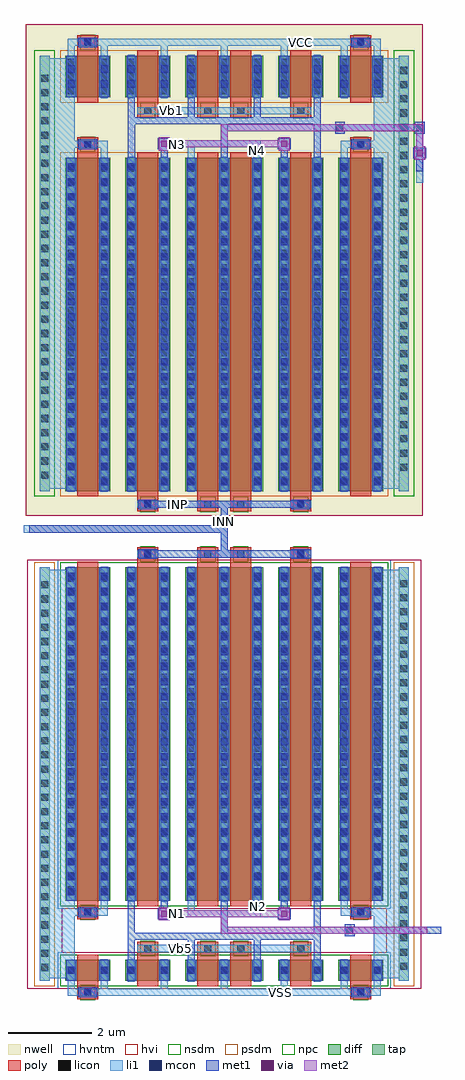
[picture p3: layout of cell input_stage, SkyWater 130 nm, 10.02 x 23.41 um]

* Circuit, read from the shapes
.subckt input_stage INN INP N1 N2 N3 N4 VCC VSS Vb1 Vb5
XM1 VSS VSS VSS VSS sky130_fd_pr__nfet_g5v0d10v5 w=0.5 l=0.5 m=2
XM2 VSS VSS VSS VSS sky130_fd_pr__nfet_g5v0d10v5 w=8 l=0.5 m=2
XM3 VSS Vb5 n5 VSS sky130_fd_pr__nfet_g5v0d10v5 w=0.5 l=0.5 m=4
XM4 N1 INP n5 VSS sky130_fd_pr__nfet_g5v0d10v5 w=8 l=0.5 m=2
XM5 n5 INN N2 VSS sky130_fd_pr__nfet_g5v0d10v5 w=8 l=0.5 m=2
XM6 VCC VCC VCC VCC sky130_fd_pr__pfet_g5v0d10v5 w=8 l=0.5 m=2
XM7 VCC VCC VCC VCC sky130_fd_pr__pfet_g5v0d10v5 w=1 l=0.5 m=2
XM8 N3 INP n6 VCC sky130_fd_pr__pfet_g5v0d10v5 w=8 l=0.5 m=2
XM9 VCC Vb1 n6 VCC sky130_fd_pr__pfet_g5v0d10v5 w=1 l=0.5 m=4
XM10 n6 INN N4 VCC sky130_fd_pr__pfet_g5v0d10v5 w=8 l=0.5 m=2
.ends

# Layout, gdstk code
import gdstk
lib = gdstk.Library(unit=1e-6, precision=1e-09)
def R(c, l, rs):  # rectangles x0, y0, x1, y1
    for r in rs: c.add(gdstk.rectangle(r[:2], r[2:], *l))
def A(c, l, x, y, w, h, nx, ny, dx, dy):  # array of equal rectangles
    R(c, l, [(x+i*dx, y+j*dy, x+i*dx+w, y+j*dy+h) for i in range(nx) for j in range(ny)])
nwell = (64, 20)
diff = (65, 20)
tap = (65, 44)
poly = (66, 20)
licon = (66, 44)
li1 = (67, 20)
mcon = (67, 44)
met1 = (68, 20)
via = (68, 44)
met2 = (69, 20)
hvi = (75, 20)
nsdm = (93, 44)
psdm = (94, 20)
npc = (95, 20)
hvntm = (125, 20)

sky130_fd_pr__nfet_g5v0d = lib.new_cell('sky130_fd_pr__nfet_g5v0d10v5_GUWUK4#0')
R(sky130_fd_pr__nfet_g5v0d, diff, [(-0.54,-0.095,0.54,0.405)])
R(sky130_fd_pr__nfet_g5v0d, poly, [(-0.25,-0.535,0.25,0.535)])
R(sky130_fd_pr__nfet_g5v0d, licon, [(-0.085,-0.455,0.085,-0.285), (-0.48,0.07,-0.31,0.24), (0.31,0.07,0.48,0.24)])
R(sky130_fd_pr__nfet_g5v0d, li1, [(-0.25,-0.455,0.25,-0.285), (-0.48,-0.115,-0.31,0.425), (0.31,-0.115,0.48,0.425)])
R(sky130_fd_pr__nfet_g5v0d, mcon, [(-0.085,-0.455,0.085,-0.285), (-0.48,0.07,-0.31,0.24), (0.31,0.07,0.48,0.24)])
R(sky130_fd_pr__nfet_g5v0d, met1, [(-0.23,-0.485,0.23,-0.255), (-0.51,-0.095,-0.28,0.405), (0.28,-0.095,0.51,0.405)])
R(sky130_fd_pr__nfet_g5v0d, hvi, [(-0.725,-0.28,0.725,0.59)])
R(sky130_fd_pr__nfet_g5v0d, nsdm, [(-0.665,-0.22,0.665,0.53)])
R(sky130_fd_pr__nfet_g5v0d, npc, [(-0.185,-0.555,0.185,-0.185)])
R(sky130_fd_pr__nfet_g5v0d, hvntm, [(-0.725,-0.28,0.725,0.59)])

c_sky130_fd_pr__nfet_g5v0d = lib.new_cell('sky130_fd_pr__nfet_g5v0d10v5_SAT828')
R(c_sky130_fd_pr__nfet_g5v0d, diff, [(-0.54,-3.845,0.54,4.155)])
R(c_sky130_fd_pr__nfet_g5v0d, poly, [(-0.25,-4.285,0.25,4.285)])
A(c_sky130_fd_pr__nfet_g5v0d, licon, -0.48, -3.67, 0.17, 0.17, 1, 23, 0, 0.34)
A(c_sky130_fd_pr__nfet_g5v0d, licon, 0.31, -3.67, 0.17, 0.17, 1, 23, 0, 0.34)
R(c_sky130_fd_pr__nfet_g5v0d, licon, [(-0.085,-4.205,0.085,-4.035)])
R(c_sky130_fd_pr__nfet_g5v0d, li1, [(-0.25,-4.205,0.25,-4.035), (-0.48,-3.865,-0.31,4.175), (0.31,-3.865,0.48,4.175)])
A(c_sky130_fd_pr__nfet_g5v0d, mcon, -0.48, -3.71, 0.17, 0.17, 1, 22, 0, 0.36)
A(c_sky130_fd_pr__nfet_g5v0d, mcon, 0.31, -3.71, 0.17, 0.17, 1, 22, 0, 0.36)
R(c_sky130_fd_pr__nfet_g5v0d, mcon, [(-0.085,-4.205,0.085,-4.035)])
R(c_sky130_fd_pr__nfet_g5v0d, met1, [(-0.23,-4.235,0.23,-4.005), (-0.51,-3.845,-0.28,4.155), (0.28,-3.845,0.51,4.155)])
R(c_sky130_fd_pr__nfet_g5v0d, hvi, [(-0.725,-4.03,0.725,4.34)])
R(c_sky130_fd_pr__nfet_g5v0d, nsdm, [(-0.665,-3.97,0.665,4.28)])
R(c_sky130_fd_pr__nfet_g5v0d, npc, [(-0.185,-4.305,0.185,-3.935)])
R(c_sky130_fd_pr__nfet_g5v0d, hvntm, [(-0.725,-4.03,0.725,4.34)])

c_sky130_fd_pr__nfet_g5v0d_ = lib.new_cell('sky130_fd_pr__nfet_g5v0d10v5_SAC338')
R(c_sky130_fd_pr__nfet_g5v0d_, diff, [(-0.54,-4,0.54,4)])
R(c_sky130_fd_pr__nfet_g5v0d_, poly, [(-0.25,-4.13,0.25,4.13)])
A(c_sky130_fd_pr__nfet_g5v0d_, licon, -0.48, -3.825, 0.17, 0.17, 1, 23, 0, 0.34)
A(c_sky130_fd_pr__nfet_g5v0d_, licon, 0.31, -3.825, 0.17, 0.17, 1, 23, 0, 0.34)
R(c_sky130_fd_pr__nfet_g5v0d_, li1, [(-0.48,-4.02,-0.31,4.02), (0.31,-4.02,0.48,4.02)])
A(c_sky130_fd_pr__nfet_g5v0d_, mcon, -0.48, -3.865, 0.17, 0.17, 1, 22, 0, 0.36)
A(c_sky130_fd_pr__nfet_g5v0d_, mcon, 0.31, -3.865, 0.17, 0.17, 1, 22, 0, 0.36)
R(c_sky130_fd_pr__nfet_g5v0d_, met1, [(-0.51,-4,-0.28,4), (0.28,-4,0.51,4)])
R(c_sky130_fd_pr__nfet_g5v0d_, hvi, [(-0.725,-4.185,0.725,4.185)])
R(c_sky130_fd_pr__nfet_g5v0d_, nsdm, [(-0.665,-4.125,0.665,4.125)])
R(c_sky130_fd_pr__nfet_g5v0d_, hvntm, [(-0.725,-4.185,0.725,4.185)])

c_sky130_fd_pr__nfet_g5v0d__ = lib.new_cell('sky130_fd_pr__nfet_g5v0d10v5_VNB5GC#0')
R(c_sky130_fd_pr__nfet_g5v0d__, diff, [(-0.54,-0.25,0.54,0.25)])
R(c_sky130_fd_pr__nfet_g5v0d__, poly, [(-0.25,-0.38,0.25,0.38)])
R(c_sky130_fd_pr__nfet_g5v0d__, licon, [(-0.48,-0.085,-0.31,0.085), (0.31,-0.085,0.48,0.085)])
R(c_sky130_fd_pr__nfet_g5v0d__, li1, [(-0.48,-0.27,-0.31,0.27), (0.31,-0.27,0.48,0.27)])
R(c_sky130_fd_pr__nfet_g5v0d__, mcon, [(-0.48,-0.085,-0.31,0.085), (0.31,-0.085,0.48,0.085)])
R(c_sky130_fd_pr__nfet_g5v0d__, met1, [(-0.51,-0.25,-0.28,0.25), (0.28,-0.25,0.51,0.25)])
R(c_sky130_fd_pr__nfet_g5v0d__, hvi, [(-0.725,-0.435,0.725,0.435)])
R(c_sky130_fd_pr__nfet_g5v0d__, nsdm, [(-0.665,-0.375,0.665,0.375)])
R(c_sky130_fd_pr__nfet_g5v0d__, hvntm, [(-0.725,-0.435,0.725,0.435)])

sky130_fd_pr__pfet_g5v0d = lib.new_cell('sky130_fd_pr__pfet_g5v0d10v5_2L5LZ7')
R(sky130_fd_pr__pfet_g5v0d, nwell, [(-0.72,-4.31,0.72,4.31)])
R(sky130_fd_pr__pfet_g5v0d, diff, [(-0.54,-4,0.54,4)])
R(sky130_fd_pr__pfet_g5v0d, poly, [(-0.25,-4.13,0.25,4.13)])
A(sky130_fd_pr__pfet_g5v0d, licon, -0.48, -3.825, 0.17, 0.17, 1, 23, 0, 0.34)
A(sky130_fd_pr__pfet_g5v0d, licon, 0.31, -3.825, 0.17, 0.17, 1, 23, 0, 0.34)
R(sky130_fd_pr__pfet_g5v0d, li1, [(-0.48,-4.02,-0.31,4.02), (0.31,-4.02,0.48,4.02)])
A(sky130_fd_pr__pfet_g5v0d, mcon, -0.48, -3.865, 0.17, 0.17, 1, 22, 0, 0.36)
A(sky130_fd_pr__pfet_g5v0d, mcon, 0.31, -3.865, 0.17, 0.17, 1, 22, 0, 0.36)
R(sky130_fd_pr__pfet_g5v0d, met1, [(-0.51,-4,-0.28,4), (0.28,-4,0.51,4)])
R(sky130_fd_pr__pfet_g5v0d, hvi, [(-0.72,-4.31,0.72,-4.185), (-0.725,-4.185,0.725,4.185), (-0.72,4.185,0.72,4.31)])
R(sky130_fd_pr__pfet_g5v0d, psdm, [(-0.665,-4.125,0.665,4.125)])

c_sky130_fd_pr__pfet_g5v0d = lib.new_cell('sky130_fd_pr__pfet_g5v0d10v5_VK4LZ7')
R(c_sky130_fd_pr__pfet_g5v0d, nwell, [(-0.72,-4.49,0.72,4.32)])
R(c_sky130_fd_pr__pfet_g5v0d, diff, [(-0.54,-4.18,0.54,3.82)])
R(c_sky130_fd_pr__pfet_g5v0d, poly, [(-0.25,-4.31,0.25,4.305)])
A(c_sky130_fd_pr__pfet_g5v0d, licon, -0.48, -4.005, 0.17, 0.17, 1, 23, 0, 0.34)
A(c_sky130_fd_pr__pfet_g5v0d, licon, 0.31, -4.005, 0.17, 0.17, 1, 23, 0, 0.34)
R(c_sky130_fd_pr__pfet_g5v0d, licon, [(-0.085,4.055,0.085,4.225)])
R(c_sky130_fd_pr__pfet_g5v0d, li1, [(-0.48,-4.2,-0.31,3.84), (0.31,-4.2,0.48,3.84), (-0.25,4.055,0.25,4.225)])
A(c_sky130_fd_pr__pfet_g5v0d, mcon, -0.48, -4.045, 0.17, 0.17, 1, 22, 0, 0.36)
A(c_sky130_fd_pr__pfet_g5v0d, mcon, 0.31, -4.045, 0.17, 0.17, 1, 22, 0, 0.36)
R(c_sky130_fd_pr__pfet_g5v0d, mcon, [(-0.085,4.055,0.085,4.225)])
R(c_sky130_fd_pr__pfet_g5v0d, met1, [(-0.51,-4.18,-0.28,3.82), (0.28,-4.18,0.51,3.82), (-0.23,4.025,0.23,4.255)])
R(c_sky130_fd_pr__pfet_g5v0d, hvi, [(-0.72,-4.49,0.72,-4.365), (-0.725,-4.365,0.725,4.005), (-0.72,4.005,0.72,4.32)])
R(c_sky130_fd_pr__pfet_g5v0d, psdm, [(-0.665,-4.305,0.665,3.945)])
R(c_sky130_fd_pr__pfet_g5v0d, npc, [(-0.185,3.955,0.185,4.325)])

c_sky130_fd_pr__pfet_g5v0d_ = lib.new_cell('sky130_fd_pr__pfet_g5v0d10v5_NQ4LZ7#0')
R(c_sky130_fd_pr__pfet_g5v0d_, nwell, [(-0.72,-0.81,0.72,0.81)])
R(c_sky130_fd_pr__pfet_g5v0d_, diff, [(-0.54,-0.5,0.54,0.5)])
R(c_sky130_fd_pr__pfet_g5v0d_, poly, [(-0.25,-0.63,0.25,0.63)])
A(c_sky130_fd_pr__pfet_g5v0d_, licon, -0.48, -0.425, 0.17, 0.17, 1, 3, 0, 0.34)
A(c_sky130_fd_pr__pfet_g5v0d_, licon, 0.31, -0.425, 0.17, 0.17, 1, 3, 0, 0.34)
R(c_sky130_fd_pr__pfet_g5v0d_, li1, [(-0.48,-0.52,-0.31,0.52), (0.31,-0.52,0.48,0.52)])
R(c_sky130_fd_pr__pfet_g5v0d_, mcon, [(-0.48,-0.265,-0.31,-0.095), (0.31,-0.265,0.48,-0.095), (-0.48,0.095,-0.31,0.265), (0.31,0.095,0.48,0.265)])
R(c_sky130_fd_pr__pfet_g5v0d_, met1, [(-0.51,-0.5,-0.28,0.5), (0.28,-0.5,0.51,0.5)])
R(c_sky130_fd_pr__pfet_g5v0d_, hvi, [(-0.72,-0.81,0.72,-0.685), (-0.725,-0.685,0.725,0.685), (-0.72,0.685,0.72,0.81)])
R(c_sky130_fd_pr__pfet_g5v0d_, psdm, [(-0.665,-0.625,0.665,0.625)])

c_sky130_fd_pr__pfet_g5v0d__ = lib.new_cell('sky130_fd_pr__pfet_g5v0d10v5_ZUVZZ7#0')
R(c_sky130_fd_pr__pfet_g5v0d__, nwell, [(-0.72,-0.99,0.72,0.82)])
R(c_sky130_fd_pr__pfet_g5v0d__, diff, [(-0.54,-0.68,0.54,0.32)])
R(c_sky130_fd_pr__pfet_g5v0d__, poly, [(-0.25,-0.81,0.25,0.805)])
A(c_sky130_fd_pr__pfet_g5v0d__, licon, -0.48, -0.605, 0.17, 0.17, 1, 3, 0, 0.34)
A(c_sky130_fd_pr__pfet_g5v0d__, licon, 0.31, -0.605, 0.17, 0.17, 1, 3, 0, 0.34)
R(c_sky130_fd_pr__pfet_g5v0d__, licon, [(-0.085,0.555,0.085,0.725)])
R(c_sky130_fd_pr__pfet_g5v0d__, li1, [(-0.48,-0.7,-0.31,0.34), (0.31,-0.7,0.48,0.34), (-0.25,0.555,0.25,0.725)])
R(c_sky130_fd_pr__pfet_g5v0d__, mcon, [(-0.48,-0.445,-0.31,-0.275), (0.31,-0.445,0.48,-0.275), (-0.48,-0.085,-0.31,0.085), (0.31,-0.085,0.48,0.085), (-0.085,0.555,0.085,0.725)])
R(c_sky130_fd_pr__pfet_g5v0d__, met1, [(-0.51,-0.68,-0.28,0.32), (0.28,-0.68,0.51,0.32), (-0.23,0.525,0.23,0.755)])
R(c_sky130_fd_pr__pfet_g5v0d__, hvi, [(-0.72,-0.99,0.72,-0.865), (-0.725,-0.865,0.725,0.505), (-0.72,0.505,0.72,0.82)])
R(c_sky130_fd_pr__pfet_g5v0d__, psdm, [(-0.665,-0.805,0.665,0.445)])
R(c_sky130_fd_pr__pfet_g5v0d__, npc, [(-0.185,0.455,0.185,0.825)])

input_stage = lib.new_cell('input_stage')
R(input_stage, nwell, [(-4.46,-8.945,5.065,2.855)])
R(input_stage, tap, [(-4.125,-20.1,-3.885,-10.18), (4.495,-20.1,4.735,-10.18), (-4.125,-8.35,-3.885,2.095), (4.495,-8.35,4.735,2.095)])
R(input_stage, poly, [(-1.78,-19.6,-1.28,-19.16), (-0.34,-19.6,0.16,-19.16), (0.45,-19.6,0.95,-19.16), (1.89,-19.6,2.39,-19.16), (-1.78,-10.18,-1.28,-9.695), (-0.34,-10.18,0.16,-9.695), (0.45,-10.18,0.95,-9.695), (1.89,-10.18,2.39,-9.695), (-1.78,-8.835,-1.28,-8.35), (-0.34,-8.835,0.16,-8.35), (0.45,-8.835,0.95,-8.35), (1.89,-8.835,2.39,-8.35), (-1.78,0.61,-1.28,1.095), (-0.34,0.61,0.16,1.095), (0.45,0.61,0.95,1.095), (1.89,0.61,2.39,1.095)])
A(input_stage, licon, -4.09, -19.865, 0.17, 0.17, 1, 28, 0, 0.34)
A(input_stage, licon, 4.53, -19.835, 0.17, 0.17, 1, 28, 0, 0.34)
A(input_stage, licon, -4.09, -8.055, 0.17, 0.17, 1, 29, 0, 0.34)
A(input_stage, licon, 4.53, -7.865, 0.17, 0.17, 1, 29, 0, 0.34)
R(input_stage, licon, [(-1.615,-19.41,-1.445,-19.24), (-0.175,-19.41,-0.005,-19.24), (0.615,-19.41,0.785,-19.24), (2.055,-19.41,2.225,-19.24), (-1.615,-9.945,-1.445,-9.775), (-0.175,-9.945,-0.005,-9.775), (0.615,-9.945,0.785,-9.775), (2.055,-9.945,2.225,-9.775), (-1.615,-8.755,-1.445,-8.585), (-0.175,-8.755,-0.005,-8.585), (0.615,-8.755,0.785,-8.585), (2.055,-8.755,2.225,-8.585), (-1.615,0.69,-1.445,0.86), (-0.175,0.69,-0.005,0.86), (0.615,0.69,0.785,0.86), (2.055,0.69,2.225,0.86)])
R(input_stage, li1, [(-3.45,-20.46,4.06,-20.29), (-3.45,-20.29,-3.28,-20.04), (-2.66,-20.29,-2.49,-20.03), (-1.22,-20.29,-1.05,-19.865), (0.22,-20.29,0.39,-19.895), (1.66,-20.29,1.83,-19.9), (3.1,-20.29,3.27,-19.795), (3.89,-20.29,4.06,-20.04), (-4.125,-20.1,-3.885,-20.04), (4.495,-20.1,4.735,-20.04), (-4.125,-20.04,-3.28,-18.54), (3.89,-20.04,4.735,-18.54), (-1.78,-19.41,2.39,-19.24), (0.22,-18.975,3.4,-18.805), (0.22,-18.805,0.39,-18.575), (-0.57,-18.575,1.18,-18.405), (-4.125,-18.54,-2.49,-18.37), (3.1,-18.54,4.735,-18.37), (-0.57,-18.405,-0.4,-18.085), (1.01,-18.405,1.18,-18.02), (-4.125,-18.37,-3.28,-17.89), (-2.66,-18.37,-2.49,-18.025), (3.1,-18.37,3.27,-17.995), (3.89,-18.37,4.735,-10.24), (-4.125,-17.89,-3.315,-10.24), (-4.125,-10.24,-3.885,-10.18), (4.495,-10.24,4.735,-10.18), (-1.78,-9.945,-1.28,-9.775), (-0.34,-9.945,0.95,-9.775), (1.89,-9.945,2.39,-9.775), (0.22,-9.775,0.39,-9.345), (-4.505,-9.345,0.39,-9.175), (0.22,-9.175,0.39,-8.755), (-1.78,-8.755,-1.28,-8.585), (-0.34,-8.755,0.95,-8.585), (1.89,-8.755,2.39,-8.585), (-4.125,-8.35,-3.885,-8.29), (4.495,-8.35,4.735,-8.29), (-4.125,-8.29,-3.35,-0.725), (3.89,-8.29,4.735,-0.115), (4.91,-0.95,5.08,0.45), (-4.125,-0.725,-3.28,-0.115), (3.1,-0.69,3.27,-0.115), (1.01,-0.675,1.18,-0.105), (-0.57,-0.475,-0.4,-0.105), (-2.66,-0.435,-2.49,-0.115), (-4.125,-0.115,-2.49,0.055), (3.1,-0.115,4.735,0.055), (-0.57,-0.105,1.18,0.065), (-4.125,0.055,-3.28,2.035), (3.89,0.055,4.735,2.035), (0.22,0.065,0.39,0.28), (0.22,0.28,3.165,0.45), (-1.78,0.69,2.39,0.86), (-1.22,1.155,-1.05,2.33), (1.66,1.885,1.83,2.33), (0.22,1.92,0.39,2.33), (3.1,1.965,3.27,2.33), (-4.125,2.035,-3.885,2.095), (-3.45,2.035,-3.28,2.33), (-2.66,2.035,-2.49,2.33), (3.89,2.035,4.06,2.33), (4.495,2.035,4.735,2.095), (-3.45,2.33,4.06,2.5)])
R(input_stage, mcon, [(3.23,-18.975,3.4,-18.805), (-1.615,-9.945,-1.445,-9.775), (2.055,-9.945,2.225,-9.775), (-1.615,-8.755,-1.445,-8.585), (2.055,-8.755,2.225,-8.585), (2.995,0.28,3.165,0.45), (4.91,0.28,5.08,0.45)])
R(input_stage, met1, [(1.01,-19.825,1.18,-19.115), (-0.57,-19.8,-0.4,-19.115), (-2.01,-19.735,-1.84,-19.115), (2.45,-19.725,2.62,-19.115), (-2.01,-19.115,2.62,-18.945), (3.2,-19.035,3.43,-18.975), (3.2,-18.975,5.51,-18.805), (-2.01,-18.945,-1.84,-18.07), (0.22,-18.945,0.39,-18.005), (2.45,-18.945,2.62,-17.945), (3.2,-18.805,3.43,-18.745), (-1.295,-18.62,-0.975,-18.36), (1.585,-18.62,1.905,-18.36), (-1.22,-18.36,-1.05,-18.015), (1.66,-18.36,1.83,-18.04), (-1.76,-9.975,-1.3,-9.945), (1.91,-9.975,2.37,-9.945), (-1.76,-9.945,2.39,-9.775), (-1.76,-9.775,-1.3,-9.745), (0.22,-9.775,0.39,-9.345), (1.91,-9.775,2.37,-9.745), (-4.37,-9.345,0.39,-9.175), (0.22,-9.175,0.39,-8.755), (-1.76,-8.785,-1.3,-8.755), (1.91,-8.785,2.37,-8.755), (-1.76,-8.755,2.37,-8.585), (-1.76,-8.585,-1.3,-8.555), (1.91,-8.585,2.37,-8.555), (4.91,-0.675,5.08,-0.37), (0.22,-0.595,0.39,0.45), (-2.005,-0.59,-1.835,0.45), (2.45,-0.57,2.62,0.45), (1.66,-0.555,1.83,-0.15), (-1.22,-0.51,-1.05,-0.15), (4.835,-0.37,5.155,-0.11), (-1.295,-0.15,-0.975,0.11), (1.585,-0.15,1.905,0.11), (2.965,0.22,3.195,0.28), (4.88,0.22,5.11,0.28), (2.965,0.28,5.11,0.45), (-2.01,0.45,2.62,0.62), (2.965,0.45,3.195,0.51), (4.88,0.45,5.11,0.51), (-2.01,0.62,-1.84,1.795), (-0.57,0.62,-0.4,1.29), (1.01,0.62,1.18,1.27), (2.45,0.62,2.62,1.27)])
R(input_stage, via, [(-1.21,-18.565,-1.06,-18.415), (1.67,-18.565,1.82,-18.415), (4.92,-0.315,5.07,-0.165), (-1.21,-0.095,-1.06,0.055), (1.67,-0.095,1.82,0.055)])
R(input_stage, met2, [(0.22,-18.975,5.18,-18.805), (0.22,-18.805,0.39,-18.575), (-1.265,-18.65,-1.005,-18.575), (1.615,-18.65,1.875,-18.575), (-1.265,-18.575,1.875,-18.405), (-1.265,-18.405,-1.005,-18.33), (1.615,-18.405,1.875,-18.33), (4.865,-0.4,5.125,-0.08), (-1.265,-0.18,-1.005,-0.105), (1.615,-0.18,1.875,-0.105), (-1.265,-0.105,1.875,0.065), (4.91,-0.08,5.08,0.28), (-1.265,0.065,-1.005,0.14), (0.22,0.065,0.39,0.28), (1.615,0.065,1.875,0.14), (0.22,0.28,5.08,0.45)])
R(input_stage, hvi, [(-4.425,-20.285,-3.585,-9.995), (4.195,-20.285,5.035,-9.995), (-4.46,-8.945,5.065,2.855)])
R(input_stage, nsdm, [(-2.305,-20.225,-2.195,-19.475), (-0.865,-20.225,-0.755,-19.475), (1.365,-20.225,1.475,-19.475), (2.805,-20.225,2.915,-19.475), (-2.305,-18.305,-2.195,-10.055), (-0.865,-18.305,-0.755,-10.055), (1.365,-18.305,1.475,-10.055), (2.805,-18.305,2.915,-10.055), (-4.25,-8.475,-3.76,2.22), (4.37,-8.475,4.86,2.22)])
R(input_stage, psdm, [(-4.25,-20.225,-3.76,-10.055), (4.37,-20.225,4.86,-10.055), (-2.305,-8.475,-2.195,-0.225), (-0.865,-8.475,-0.755,-0.225), (1.365,-8.475,1.475,-0.225), (2.805,-8.475,2.915,-0.225), (-2.305,0.97,-2.195,2.22), (-0.865,0.97,-0.755,2.22), (1.365,0.97,1.475,2.22), (2.805,0.97,2.915,2.22)])
R(input_stage, npc, [(-1.715,-19.51,-1.345,-19.14), (-0.275,-19.51,0.095,-19.14), (0.515,-19.51,0.885,-19.14), (1.955,-19.51,2.325,-19.14), (-1.715,-10.045,-1.345,-9.675), (-0.275,-10.045,0.095,-9.675), (0.515,-10.045,0.885,-9.675), (1.955,-10.045,2.325,-9.675), (-1.715,-8.855,-1.345,-8.485), (-0.275,-8.855,0.095,-8.485), (0.515,-8.855,0.885,-8.485), (1.955,-8.855,2.325,-8.485), (-1.715,0.59,-1.345,0.96), (-0.275,0.59,0.095,0.96), (0.515,0.59,0.885,0.96), (1.955,0.59,2.325,0.96)])
input_stage.add(gdstk.Reference(sky130_fd_pr__nfet_g5v0d, (-2.97,-20.005)))
input_stage.add(gdstk.Reference(c_sky130_fd_pr__nfet_g5v0d, (-2.97,-14.335)))
input_stage.add(gdstk.Reference(c_sky130_fd_pr__nfet_g5v0d_, (-0.09,-14.18)))
input_stage.add(gdstk.Reference(c_sky130_fd_pr__nfet_g5v0d_, (-1.53,-14.18)))
input_stage.add(gdstk.Reference(c_sky130_fd_pr__nfet_g5v0d__, (-0.09,-19.85)))
input_stage.add(gdstk.Reference(c_sky130_fd_pr__nfet_g5v0d__, (-1.53,-19.85)))
input_stage.add(gdstk.Reference(c_sky130_fd_pr__nfet_g5v0d_, (0.7,-14.18)))
input_stage.add(gdstk.Reference(c_sky130_fd_pr__nfet_g5v0d__, (0.7,-19.85)))
input_stage.add(gdstk.Reference(sky130_fd_pr__nfet_g5v0d, (3.58,-20.005)))
input_stage.add(gdstk.Reference(c_sky130_fd_pr__nfet_g5v0d_, (2.14,-14.18)))
input_stage.add(gdstk.Reference(c_sky130_fd_pr__nfet_g5v0d, (3.58,-14.335)))
input_stage.add(gdstk.Reference(c_sky130_fd_pr__nfet_g5v0d__, (2.14,-19.85)))
input_stage.add(gdstk.Reference(sky130_fd_pr__pfet_g5v0d, (-1.53,-4.35)))
input_stage.add(gdstk.Reference(c_sky130_fd_pr__pfet_g5v0d, (-2.97,-4.17)))
input_stage.add(gdstk.Reference(sky130_fd_pr__pfet_g5v0d, (-0.09,-4.35)))
input_stage.add(gdstk.Reference(sky130_fd_pr__pfet_g5v0d, (0.7,-4.35)))
input_stage.add(gdstk.Reference(sky130_fd_pr__pfet_g5v0d, (2.14,-4.35)))
input_stage.add(gdstk.Reference(c_sky130_fd_pr__pfet_g5v0d, (3.58,-4.17)))
input_stage.add(gdstk.Reference(c_sky130_fd_pr__pfet_g5v0d_, (-1.53,1.595)))
input_stage.add(gdstk.Reference(c_sky130_fd_pr__pfet_g5v0d__, (-2.97,1.775)))
input_stage.add(gdstk.Reference(c_sky130_fd_pr__pfet_g5v0d_, (-0.09,1.595)))
input_stage.add(gdstk.Reference(c_sky130_fd_pr__pfet_g5v0d_, (2.14,1.595)))
input_stage.add(gdstk.Reference(c_sky130_fd_pr__pfet_g5v0d_, (0.7,1.595)))
input_stage.add(gdstk.Reference(c_sky130_fd_pr__pfet_g5v0d__, (3.58,1.775)))
input_stage.add(gdstk.Label('INP', (-0.82,-8.68), layer=68, texttype=5))
input_stage.add(gdstk.Label('INN', (0.295,-9.075), layer=67, texttype=5))
input_stage.add(gdstk.Label('N3', (-0.82,-0.03), layer=69, texttype=5))
input_stage.add(gdstk.Label('N4', (1.1,-0.185), layer=67, texttype=5))
input_stage.add(gdstk.Label('Vb1', (-0.95,0.775), layer=67, texttype=5))
input_stage.add(gdstk.Label('VCC', (2.125,2.415), layer=67, texttype=5))
input_stage.add(gdstk.Label('N1', (-0.815,-18.48), layer=69, texttype=5))
input_stage.add(gdstk.Label('N2', (1.12,-18.315), layer=67, texttype=5))
input_stage.add(gdstk.Label('Vb5', (-0.745,-19.315), layer=67, texttype=5))
input_stage.add(gdstk.Label('VSS', (1.66,-20.37), layer=67, texttype=5))

lib.write_gds('input_stage.gds')
